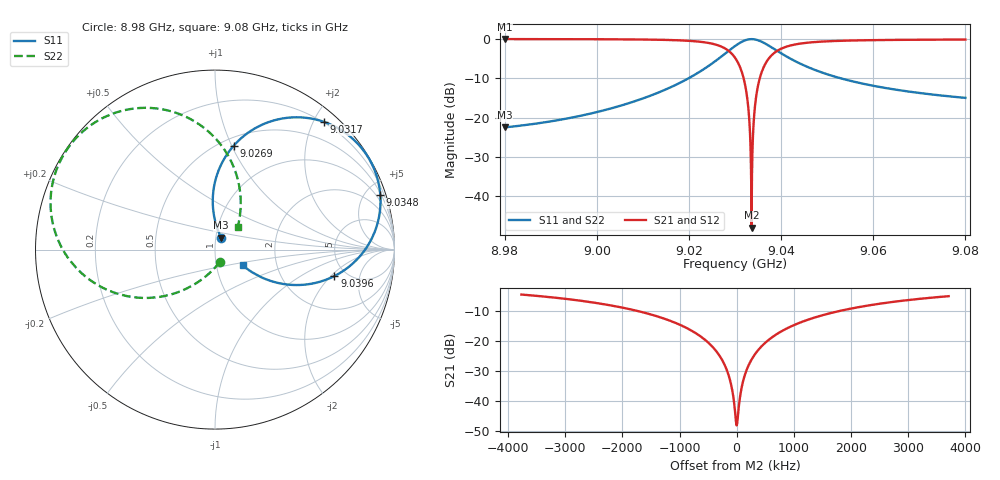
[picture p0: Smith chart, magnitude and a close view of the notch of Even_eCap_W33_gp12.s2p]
! Sonnet Data File
! From: emgraph Version : 16.52
! From Project: Resonator2_extremeCap
! Data is De-embedded
! Data File Written: 10/09/2017 23:02:46
!< HDATE 10/09/2017 15:24:44
!< MDATE 10/09/2017 17:18:05
!< PARAMS
!< Pwid1 = 2000.0
!< Pwid2 = 2000.0
!< Air_gap = 19.8
!< Width = 33.0
!< Gap = 12.0
!< END PARAMS
# GHZ S MA R 51.80000
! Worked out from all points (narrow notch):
!   1595 points, 8.98 GHz to 9.08 GHz, reference 51.8 ohm
!   highest |S21| = -0.02 dB at 8.98 GHz (marker M1); lowest = -48.0 dB at 9.0336 GHz (marker M2)
!   notch at M2: 47.1 dB deep, 628 kHz wide at half that depth
!   lowest |S11| = -22.5 dB at 8.98 GHz (marker M3), VSWR 1.16, Z = 54.9 + j7.39 ohm
!   |S11| at or under -10 dB: start of sweep to 9.019928 GHz; 9.052907 GHz to end of sweep
!   |S22| runs from -22.5 to 0.0 dB; largest |S21 - S12| = 0
!   S11 on the Smith chart (normalised r, x): 8.98 GHz: 1.06, +0.14; 9.0269 GHz: 0.57, +1.02; 9.0317 GHz: 0.19, +2.15; 9.0348 GHz: 0.61, +6.18; 9.0396 GHz: 4.00, -2.20; 9.08 GHz: 1.34, -0.24
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8.98  0.07493 63.2  0.9971 -93.5  0.9971 -93.5  0.07486 -70.1
!< P1 F=8.98 Eeff=(6.44458572 -2.971e-5) Z0=(51.1711705 1.1806e-4) R=0.0 C=0.0
!< P2 F=8.98 Eeff=(6.44458572 -2.971e-5) Z0=(51.1711705 1.1806e-4) R=0.0 C=0.0
8.9967  0.1059 80.4  0.9943 -96.1  0.9943 -96.1  0.1058 -92.7
9.0134  0.2083 92.3  0.9778 -102.9  0.9778 -102.9  0.2082 -118.2
9.0216  0.36 90.6  0.9323 -112.3  0.9323 -112.3  0.3598 -135.4
9.0269  0.5886 79.8  0.8066 -127.4  0.8066 -127.4  0.5883 -155.0
9.03  0.8125 63.6  0.5784 -145.8  0.5784 -145.8  0.8121 -175.9
9.0317  0.9353 49.6  0.3442 -160.8  0.3442 -160.8  0.9348 167.6
9.032587  0.9782 40.9  0.1892 -169.5  0.1892 -169.5  0.9777 157.7
9.0331  0.9919 35.7  0.0933 -173.8  0.0933 -173.8  0.9914 151.8
9.0334  0.9956 32.6  0.03629 -173.2  0.03629 -173.2  0.9951 148.3
9.033552  0.9962 31.1  0.008058 -151.7  0.008058 -151.7  0.9958 146.5
9.033588  0.9963 30.7  0.003966 -94.4  0.003966 -94.4  0.9958 146.1
9.033638  0.9962 30.2  0.01008 -25.3  0.01008 -25.3  0.9957 145.5
9.033718  0.996 29.4  0.02479 -12.2  0.02479 -12.2  0.9955 144.6
9.033906  0.9945 27.5  0.0601 -8.8  0.0601 -8.8  0.994 142.4
9.034306  0.9873 23.5  0.1342 -11.0  0.1342 -11.0  0.9868 137.9
9.034849  0.9697 18.2  0.23 -15.9  0.23 -15.9  0.9692 131.9
9.0366  0.8715 3.6  0.485 -31.1  0.485 -31.1  0.8711 115.0
9.039572  0.6814 -12.5  0.7298 -48.9  0.7298 -48.9  0.6812 95.2
9.0467  0.4177 -27.1  0.908 -67.3  0.908 -67.3  0.4176 72.6
9.0634  0.2338 -31.4  0.9722 -78.9  0.9722 -78.9  0.2338 53.6
9.08  0.178 -29.7  0.984 -82.5  0.984 -82.5  0.178 44.7
